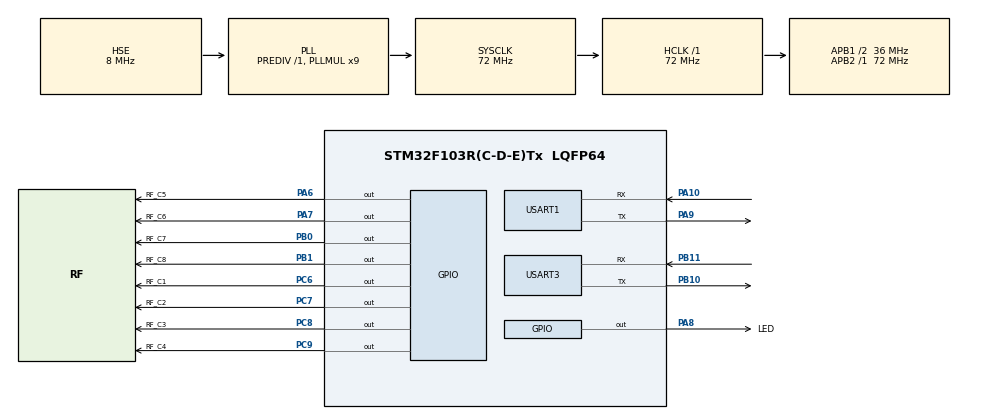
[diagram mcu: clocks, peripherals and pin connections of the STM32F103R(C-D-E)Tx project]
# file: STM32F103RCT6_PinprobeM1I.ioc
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Dma.Request0=USART1_RX
Dma.Request1=USART1_TX
Dma.Request2=USART3_RX
Dma.Request3=USART3_TX
Dma.USART1_RX.0.Direction=DMA_PERIPH_TO_MEMORY
Dma.USART1_RX.0.Instance=DMA1_Channel5
Dma.USART1_RX.0.MemDataAlignment=DMA_MDATAALIGN_BYTE
Dma.USART1_RX.0.MemInc=DMA_MINC_ENABLE
Dma.USART1_RX.0.Mode=DMA_NORMAL
Dma.USART1_RX.0.PeriphDataAlignment=DMA_PDATAALIGN_BYTE
Dma.USART1_RX.0.PeriphInc=DMA_PINC_DISABLE
Dma.USART1_RX.0.Priority=DMA_PRIORITY_HIGH
Dma.USART1_TX.1.Direction=DMA_MEMORY_TO_PERIPH
Dma.USART1_TX.1.Instance=DMA1_Channel4
Dma.USART1_TX.1.MemDataAlignment=DMA_MDATAALIGN_BYTE
Dma.USART1_TX.1.MemInc=DMA_MINC_ENABLE
Dma.USART1_TX.1.Mode=DMA_NORMAL
Dma.USART1_TX.1.PeriphDataAlignment=DMA_PDATAALIGN_BYTE
Dma.USART1_TX.1.PeriphInc=DMA_PINC_DISABLE
Dma.USART1_TX.1.Priority=DMA_PRIORITY_LOW
Dma.USART3_RX.2.Direction=DMA_PERIPH_TO_MEMORY
Dma.USART3_RX.2.Instance=DMA1_Channel3
Dma.USART3_RX.2.MemDataAlignment=DMA_MDATAALIGN_BYTE
Dma.USART3_RX.2.MemInc=DMA_MINC_ENABLE
Dma.USART3_RX.2.Mode=DMA_NORMAL
Dma.USART3_RX.2.PeriphDataAlignment=DMA_PDATAALIGN_BYTE
Dma.USART3_RX.2.PeriphInc=DMA_PINC_DISABLE
Dma.USART3_RX.2.Priority=DMA_PRIORITY_HIGH
Dma.USART3_TX.3.Direction=DMA_MEMORY_TO_PERIPH
Dma.USART3_TX.3.Instance=DMA1_Channel2
Dma.USART3_TX.3.MemDataAlignment=DMA_MDATAALIGN_BYTE
Dma.USART3_TX.3.MemInc=DMA_MINC_ENABLE
Dma.USART3_TX.3.Mode=DMA_NORMAL
Dma.USART3_TX.3.PeriphDataAlignment=DMA_PDATAALIGN_BYTE
Dma.USART3_TX.3.PeriphInc=DMA_PINC_DISABLE
Dma.USART3_TX.3.Priority=DMA_PRIORITY_LOW
FREERTOS.Mutexes01=COMMutex,Dynamic,NULL
FREERTOS.Tasks01=defaultTask,24,128,StartDefaultTask,Default,NULL,Dynamic,NULL,NULL;SCPI,8,1024,SCPITask,As weak,NULL,Dynamic,NULL,NULL;ModBus,8,1024,ModBusTask,As weak,NULL,Dynamic,NULL,NULL
FREERTOS.Timers01=SCPITimer,SCPITimerCallback,osTimerPeriodic,Default,NULL,Dynamic,NULL
FREERTOS.configTOTAL_HEAP_SIZE=10240
IWDG.Prescaler=IWDG_PRESCALER_64
IWDG.Reload=2500
Mcu.Family=STM32F1
Mcu.Name=STM32F103R(C-D-E)Tx
Mcu.Package=LQFP64
NVIC.DMA1_Channel2_IRQn=true\:5\:0\:true\:false\:true\:true\:false\:true\:true
NVIC.DMA1_Channel3_IRQn=true\:5\:0\:true\:false\:true\:true\:false\:true\:true
NVIC.DMA1_Channel4_IRQn=true\:5\:0\:true\:false\:true\:true\:false\:true\:true
NVIC.DMA1_Channel5_IRQn=true\:5\:0\:true\:false\:true\:true\:false\:true\:true
NVIC.PriorityGroup=NVIC_PRIORITYGROUP_4
NVIC.TIM5_IRQn=true\:0\:0\:true\:false\:true\:false\:false\:true\:true
NVIC.TimeBase=TIM5_IRQn
NVIC.TimeBaseIP=TIM5
NVIC.USART1_IRQn=true\:6\:0\:true\:false\:true\:true\:false\:true\:true
NVIC.USART3_IRQn=true\:6\:0\:true\:false\:true\:true\:false\:true\:true
PA10.Mode=Asynchronous
PA10.Signal=USART1_RX
PA13.Mode=JTAG_4_pins
PA13.Signal=SYS_JTMS-SWDIO
PA14.Mode=JTAG_4_pins
PA14.Signal=SYS_JTCK-SWCLK
PA15.Mode=JTAG_4_pins
PA15.Signal=SYS_JTDI
PA6.GPIO_Label=RF_C5
PA6.Signal=GPIO_Output
PA7.GPIO_Label=RF_C6
PA7.Signal=GPIO_Output
PA8.GPIO_Label=LED
PA8.Signal=GPIO_Output
PA9.Mode=Asynchronous
PA9.Signal=USART1_TX
PB0.GPIO_Label=RF_C7
PB0.Signal=GPIO_Output
PB1.GPIO_Label=RF_C8
PB1.Signal=GPIO_Output
PB10.Mode=Asynchronous
PB10.Signal=USART3_TX
PB11.Mode=Asynchronous
PB11.Signal=USART3_RX
PB3.Mode=JTAG_4_pins
PB3.Signal=SYS_JTDO-TRACESWO
PC14-OSC32_IN.Mode=LSE-External-Oscillator
PC14-OSC32_IN.Signal=RCC_OSC32_IN
PC15-OSC32_OUT.Mode=LSE-External-Oscillator
PC15-OSC32_OUT.Signal=RCC_OSC32_OUT
PC6.GPIO_Label=RF_C1
PC6.PinState=GPIO_PIN_SET
PC6.Signal=GPIO_Output
PC7.GPIO_Label=RF_C2
PC7.Signal=GPIO_Output
PC8.GPIO_Label=RF_C3
PC8.Signal=GPIO_Output
PC9.GPIO_Label=RF_C4
PC9.Signal=GPIO_Output
PD0-OSC_IN.Mode=HSE-External-Oscillator
PD0-OSC_IN.Signal=RCC_OSC_IN
PD1-OSC_OUT.Mode=HSE-External-Oscillator
PD1-OSC_OUT.Signal=RCC_OSC_OUT
ProjectManager.HeapSize=0x200
ProjectManager.StackSize=0x400
ProjectManager.TargetToolchain=MDK-ARM V5.32
RCC.AHBFreq_Value=72000000
RCC.APB1CLKDivider=RCC_HCLK_DIV2
RCC.APB1Freq_Value=36000000
RCC.APB1TimFreq_Value=72000000
RCC.APB2Freq_Value=72000000
RCC.APB2TimFreq_Value=72000000
RCC.HCLKFreq_Value=72000000
RCC.PLLMUL=RCC_PLL_MUL9
RCC.PLLSourceVirtual=RCC_PLLSOURCE_HSE
RCC.SYSCLKFreq_VALUE=72000000
RCC.SYSCLKSource=RCC_SYSCLKSOURCE_PLLCLK
RCC.USBFreq_Value=48000000
RCC.USBPrescaler=RCC_USBCLKSOURCE_PLL_DIV1_5
USART1.VirtualMode=VM_ASYNC
USART3.VirtualMode=VM_ASYNC
VP_FREERTOS_VS_CMSIS_V2.Mode=CMSIS_V2
VP_IWDG_VS_IWDG.Mode=IWDG_Activate
VP_SYS_VS_tim5.Mode=TIM5
board=custom

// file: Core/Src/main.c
/* USER CODE BEGIN Header */
/**
  ******************************************************************************
  * @file           : main.c
  * @brief          : Main program body
  ******************************************************************************
  * @attention
  *
  * Copyright (c) 2024 STMicroelectronics.
  * All rights reserved.
  *
  * This software is licensed under terms that can be found in the LICENSE file
  * in the root directory of this software component.
  * If no LICENSE file comes with this software, it is provided AS-IS.
  *
  ******************************************************************************
  */
/* USER CODE END Header */
#include "main.h"
#include "cmsis_os.h"
#include "dma.h"
#include "iwdg.h"
#include "usart.h"
#include "gpio.h"

/* USER CODE BEGIN Includes */
#include "StateMachine.h"
#include "BsmRelay.h"
#include "RS485.h"
#include "scpi/scpi.h"
#include "scpi-def.h"
/* USER CODE END Includes */

/* USER CODE BEGIN PD */
extern DMA_HandleTypeDef hdma_usart1_tx;
extern DMA_HandleTypeDef hdma_usart3_tx;

extern uint8_t* usart1_buff_IsReady;
extern uint8_t* usart1_buff_Occupied;

extern uint8_t* usart3_buff_IsReady;
extern uint8_t* usart3_buff_Occupied;

extern osMutexId_t COMMutexHandle;
/* USER CODE END PD */

void SystemClock_Config(void);
void MX_FREERTOS_Init(void);

int main(void)
{

  /* MCU Configuration--------------------------------------------------------*/

  /* Reset of all peripherals, Initializes the Flash interface and the Systick. */
  HAL_Init();

  /* Configure the system clock */
  SystemClock_Config();

  /* Initialize all configured peripherals */
  MX_GPIO_Init();
  MX_DMA_Init();
  MX_IWDG_Init();
  MX_USART1_UART_Init();
  MX_USART3_UART_Init();
  /* USER CODE BEGIN 2 */

  __HAL_UART_ENABLE_IT(&huart1, UART_IT_IDLE);
  __HAL_UART_ENABLE_IT(&huart3, UART_IT_IDLE);

  __HAL_DMA_ENABLE_IT(&hdma_usart1_tx, DMA_IT_TC);
  __HAL_DMA_ENABLE_IT(&hdma_usart3_tx, DMA_IT_TC);

  __HAL_UART_CLEAR_IDLEFLAG(&huart1);
  __HAL_UART_CLEAR_IDLEFLAG(&huart3);

  HAL_UART_Receive_DMA(&huart1, usart1_buff_Occupied, MAX_RX_LEN);
  HAL_UART_Receive_DMA(&huart3, usart3_buff_Occupied, MAX_RX_LEN);

  SCPI_Init(&scpi_context,
    scpi_commands,
    &scpi_interface,
    scpi_units_def,
    SCPI_IDN1, SCPI_IDN2, SCPI_IDN3, SCPI_IDN4,
    scpi_input_buffer, SCPI_INPUT_BUFFER_LENGTH,
    scpi_error_queue_data, SCPI_ERROR_QUEUE_SIZE);

  /* USER CODE END 2 */

  /* Init scheduler */
  osKernelInitialize();

  /* Call init function for freertos objects (in cmsis_os2.c) */
  MX_FREERTOS_Init();

  /* Start scheduler */
  osKernelStart();

  /* We should never get here as control is now taken by the scheduler */

  /* Infinite loop */
  while (1)
  {

  }
}

void SystemClock_Config(void)
{
  RCC_OscInitTypeDef RCC_OscInitStruct = {0};
  RCC_ClkInitTypeDef RCC_ClkInitStruct = {0};

  /** Initializes the RCC Oscillators according to the specified parameters
  * in the RCC_OscInitTypeDef structure.
  */
  RCC_OscInitStruct.OscillatorType = RCC_OSCILLATORTYPE_LSI|RCC_OSCILLATORTYPE_HSE;
  RCC_OscInitStruct.HSEState = RCC_HSE_ON;
  RCC_OscInitStruct.HSEPredivValue = RCC_HSE_PREDIV_DIV1;
  RCC_OscInitStruct.HSIState = RCC_HSI_ON;
  RCC_OscInitStruct.LSIState = RCC_LSI_ON;
  RCC_OscInitStruct.PLL.PLLState = RCC_PLL_ON;
  RCC_OscInitStruct.PLL.PLLSource = RCC_PLLSOURCE_HSE;
  RCC_OscInitStruct.PLL.PLLMUL = RCC_PLL_MUL9;
  if (HAL_RCC_OscConfig(&RCC_OscInitStruct) != HAL_OK)
  {
    Error_Handler();
  }

  /** Initializes the CPU, AHB and APB buses clocks
  */
  RCC_ClkInitStruct.ClockType = RCC_CLOCKTYPE_HCLK|RCC_CLOCKTYPE_SYSCLK
                              |RCC_CLOCKTYPE_PCLK1|RCC_CLOCKTYPE_PCLK2;
  RCC_ClkInitStruct.SYSCLKSource = RCC_SYSCLKSOURCE_PLLCLK;
  RCC_ClkInitStruct.AHBCLKDivider = RCC_SYSCLK_DIV1;
  RCC_ClkInitStruct.APB1CLKDivider = RCC_HCLK_DIV2;
  RCC_ClkInitStruct.APB2CLKDivider = RCC_HCLK_DIV1;

  if (HAL_RCC_ClockConfig(&RCC_ClkInitStruct, FLASH_LATENCY_2) != HAL_OK)
  {
    Error_Handler();
  }
}

/* USER CODE BEGIN 4 */
void SCPITask(void *argument)
{
  /* USER CODE BEGIN SCPITask */
  /* Infinite loop */
  for(;;)
  {
    osMutexWait(COMMutexHandle,osWaitForever);
    if(strlen((const char *)usart1_buff_IsReady)>3)
    {
      // begin Scpi serve
      SCPI_Input(&scpi_context, (const char *)usart1_buff_IsReady, strlen((const char *)usart1_buff_IsReady)-1);
      // clear usart1_buff_IsReady
      memset((uint8_t *)usart1_buff_IsReady, 0, MAX_RX_LEN);
    }
    osMutexRelease(COMMutexHandle);
    osDelay(10);
    HAL_IWDG_Refresh(&hiwdg);
  }
  /* USER CODE END SCPITask */
}

void ModBusTask(void *argument)
{
  /* USER CODE BEGIN ModBusTask */
  /* Infinite loop */

  for(;;)
  {
    osMutexWait(COMMutexHandle,osWaitForever);
    StateMachine_Input();
    osMutexRelease(COMMutexHandle);
    osDelay(10);
    HAL_IWDG_Refresh(&hiwdg);
  }
  /* USER CODE END ModBusTask */
}
/* USER CODE END 4 */

void HAL_TIM_PeriodElapsedCallback(TIM_HandleTypeDef *htim)
{
  if (htim->Instance == TIM5) {
    HAL_IncTick();
  }
}

void Error_Handler(void)
{
  __disable_irq();
  while (1)
  {
  }
}

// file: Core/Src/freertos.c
/* USER CODE BEGIN Header */
/**
  ******************************************************************************
  * File Name          : freertos.c
  * Description        : Code for freertos applications
  ******************************************************************************
  * @attention
  *
  * Copyright (c) 2024 STMicroelectronics.
  * All rights reserved.
  *
  * This software is licensed under terms that can be found in the LICENSE file
  * in the root directory of this software component.
  * If no LICENSE file comes with this software, it is provided AS-IS.
  *
  ******************************************************************************
  */
/* USER CODE END Header */

#include "FreeRTOS.h"
#include "task.h"
#include "main.h"
#include "cmsis_os.h"

/* Definitions for defaultTask */
osThreadId_t defaultTaskHandle;
const osThreadAttr_t defaultTask_attributes = {
  .name = "defaultTask",
  .stack_size = 128 * 4,
  .priority = (osPriority_t) osPriorityNormal,
};
/* Definitions for SCPI */
osThreadId_t SCPIHandle;
const osThreadAttr_t SCPI_attributes = {
  .name = "SCPI",
  .stack_size = 1024 * 4,
  .priority = (osPriority_t) osPriorityLow,
};
/* Definitions for ModBus */
osThreadId_t ModBusHandle;
const osThreadAttr_t ModBus_attributes = {
  .name = "ModBus",
  .stack_size = 1024 * 4,
  .priority = (osPriority_t) osPriorityLow,
};
/* Definitions for SCPITimer */
osTimerId_t SCPITimerHandle;
const osTimerAttr_t SCPITimer_attributes = {
  .name = "SCPITimer"
};

void StartDefaultTask(void *argument);
void SCPITask(void *argument);
void ModBusTask(void *argument);
void SCPITimerCallback(void *argument);

void MX_FREERTOS_Init(void); /* (MISRA C 2004 rule 8.1) */

void MX_FREERTOS_Init(void) {

  /* Create the timer(s) */
  /* creation of SCPITimer */
  SCPITimerHandle = osTimerNew(SCPITimerCallback, osTimerPeriodic, NULL, &SCPITimer_attributes);

  /* Create the thread(s) */
  /* creation of defaultTask */
  defaultTaskHandle = osThreadNew(StartDefaultTask, NULL, &defaultTask_attributes);

  /* creation of SCPI */
  SCPIHandle = osThreadNew(SCPITask, NULL, &SCPI_attributes);

  /* creation of ModBus */
  ModBusHandle = osThreadNew(ModBusTask, NULL, &ModBus_attributes);

}

void StartDefaultTask(void *argument)
{
  for(;;)
  {
    osDelay(1);
  }
}

__weak void SCPITask(void *argument)
{
  for(;;)
  {
    osDelay(1);
  }
}

__weak void ModBusTask(void *argument)
{
  for(;;)
  {
    osDelay(1);
  }
}

/* SCPITimerCallback function */
void SCPITimerCallback(void *argument)
{
}
